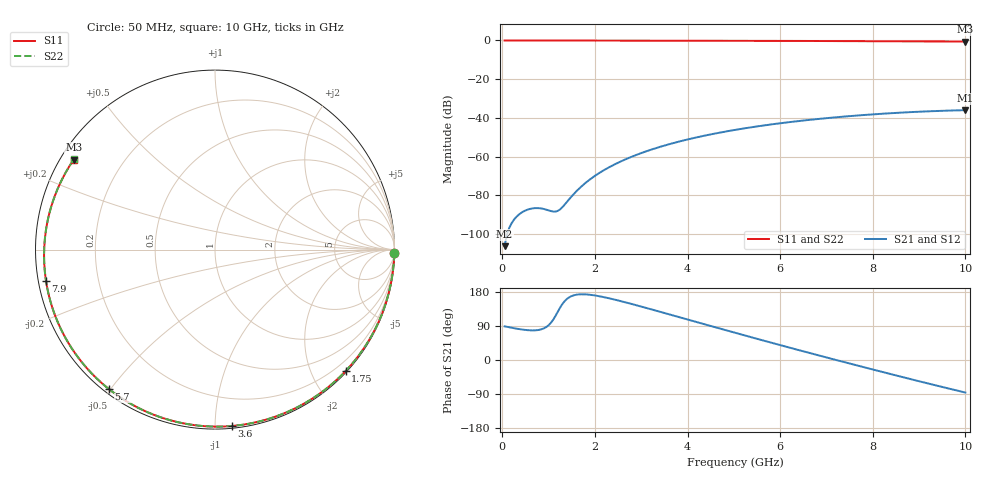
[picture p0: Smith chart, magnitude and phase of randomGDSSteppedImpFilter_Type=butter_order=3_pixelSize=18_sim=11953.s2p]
! freq	dB(S11)	phase(S11)	dB(S12)	phase(S12)
!  dB(S21)	phase(S21)	dB(S22)	phase(S22)
!S-par simulation data
#  GHz  S  DB  R 50
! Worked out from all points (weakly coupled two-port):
!   200 points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, 50 MHz to 10 GHz, reference 50 ohm
!   highest |S21| = -36.01 dB at 10 GHz (marker M1); lowest = -106.3 dB at 50 MHz (marker M2)
!   lowest |S11| = -0.6 dB at 10 GHz (marker M3), VSWR 29.04, Z = 1.87 + j14.6 ohm
!   |S11| at or under -10 dB: nowhere
!   |S22| runs from -0.6 to 0.0 dB; largest |S21 - S12| = 0
!   S11 on the Smith chart (normalised r, x): 50 MHz: 1, -94; 1.75 GHz: 0.02, -2.55; 3.6 GHz: 0.01, -1.10; 5.7 GHz: 0.01, -0.50; 7.9 GHz: 0.02, -0.09; 10 GHz: 0.04, +0.29
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0.05  -0.00 -1.2  -106.29 88.8  -106.29 88.8  -0.00 -1.2
0.4  -0.02 -10.0  -89.20 80.9  -89.20 80.9  -0.02 -10.0
0.75  -0.02 -18.6  -86.61 78.7  -86.61 78.7  -0.02 -18.6
1.5  -0.05 -36.9  -80.49 168.8  -80.49 168.8  -0.05 -36.9
1.55  -0.05 -38.1  -79.17 170.9  -79.17 170.9  -0.05 -38.1
1.75  -0.05 -42.9  -74.55 173.4  -74.55 173.4  -0.05 -42.9
2.05  -0.06 -49.9  -69.17 169.3  -69.17 169.3  -0.06 -49.9
2.45  -0.08 -59.2  -63.75 158.7  -63.75 158.7  -0.08 -59.2
2.9  -0.09 -69.3  -59.08 144.4  -59.08 144.4  -0.09 -69.4
3.4  -0.11 -80.3  -55.02 127.5  -55.02 127.5  -0.11 -80.3
3.6  -0.11 -84.6  -53.63 120.6  -53.63 120.6  -0.11 -84.6
4.3  -0.14 -99.3  -49.53 96.6  -49.53 96.6  -0.14 -99.3
5.05  -0.17 -114.5  -46.11 71.1  -46.11 71.1  -0.17 -114.5
5.7  -0.21 -127.2  -43.73 49.3  -43.73 49.3  -0.21 -127.2
6.2  -0.24 -136.9  -42.19 32.7  -42.19 32.7  -0.24 -136.9
6.7  -0.28 -146.5  -40.86 16.4  -40.86 16.4  -0.28 -146.5
7.3  -0.32 -157.9  -39.50 -2.9  -39.50 -2.9  -0.32 -157.9
7.9  -0.38 -169.5  -38.36 -21.9  -38.36 -21.9  -0.38 -169.5
8.35  -0.42 -178.3  -37.64 -36.0  -37.64 -36.0  -0.42 -178.3
8.8  -0.47 172.7  -37.04 -49.9  -37.04 -49.9  -0.47 172.7
9.2  -0.51 164.5  -36.61 -62.1  -36.61 -62.1  -0.51 164.5
10  -0.60 147.5  -36.01 -85.9  -36.01 -85.9  -0.60 147.5
